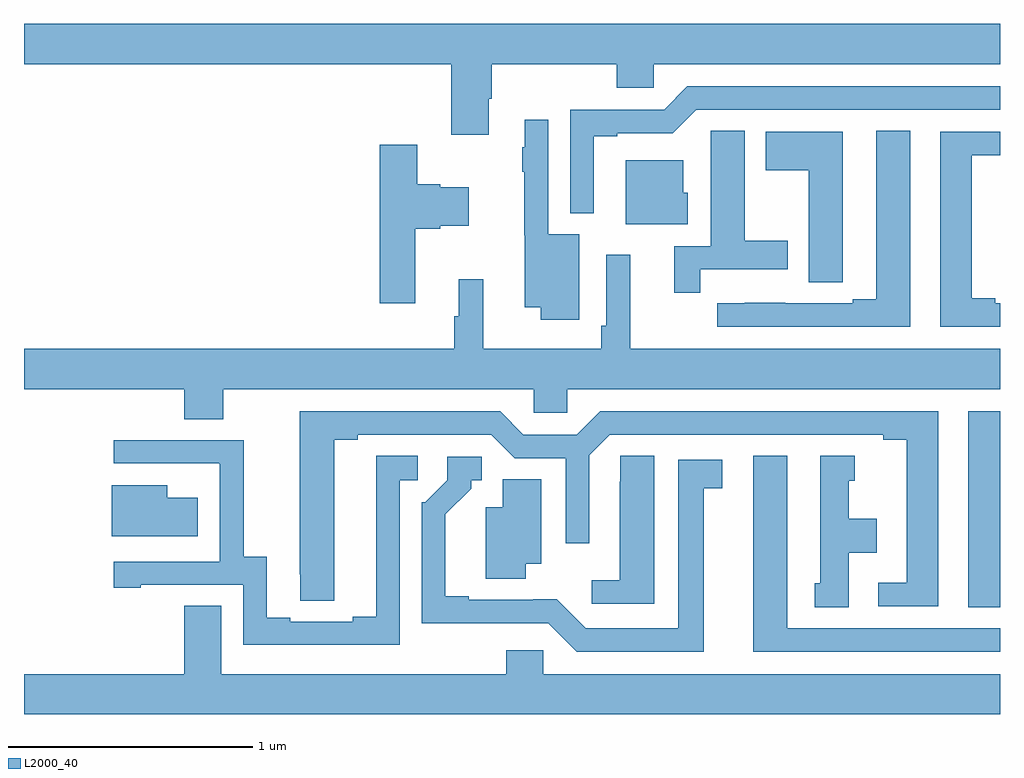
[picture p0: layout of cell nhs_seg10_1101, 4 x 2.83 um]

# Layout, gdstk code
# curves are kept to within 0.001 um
import gdstk
lib = gdstk.Library(unit=1e-6, precision=1e-09)
def R(c, l, rs):  # rectangles x0, y0, x1, y1
    for r in rs: c.add(gdstk.rectangle(r[:2], r[2:], *l))
def P(c, l, *ps):  # polygons
    for p in ps: c.add(gdstk.Polygon(p, *l))
L2000_40 = (2000, 40)

nhs_seg10_1101 = lib.new_cell('nhs_seg10_1101')
R(nhs_seg10_1101, L2000_40, [(170.87,1303.417,171,1304.22)])
P(nhs_seg10_1101, L2000_40, [(168.904,1305.502),(168.917,1305.502),(168.917,1305.644),(169.43,1305.644),(169.43,1305.546),(169.581,1305.546),(169.581,1305.644),(171,1305.644),(171,1305.808),(167,1305.808),(167,1305.644),(168.752,1305.644),(168.752,1305.354),(168.904,1305.354)],
  [(169.336,1305.348),(169.432,1305.348),(169.432,1305.36),(169.659,1305.36),(169.755,1305.456),(171,1305.456),(171,1305.552),(169.719,1305.552),(169.623,1305.456),(169.239,1305.456),(169.239,1305.032),(169.336,1305.032)],
  [(169.276,1304.947),(169.149,1304.947),(169.149,1305.415),(169.052,1305.415),(169.052,1305.302),(169.041,1305.302),(169.041,1305.202),(169.051,1305.202),(169.051,1304.943),(169.052,1304.943),(169.052,1304.648),(169.118,1304.648),(169.118,1304.595),(169.276,1304.595)],
  [(170.632,1305.371),(170.492,1305.371),(170.492,1304.679),(170.396,1304.679),(170.396,1304.664),(170.12,1304.664),(170.12,1304.665),(169.954,1304.665),(169.954,1304.664),(169.842,1304.664),(169.842,1304.568),(170.632,1304.568)],
  [(169.772,1304.802),(170.131,1304.802),(170.131,1304.919),(169.954,1304.919),(169.954,1305.371),(169.815,1305.371),(169.815,1305.26),(169.814,1305.26),(169.814,1304.898),(169.664,1304.898),(169.664,1304.706),(169.772,1304.706)],
  [(170.355,1304.857),(170.356,1304.857),(170.356,1305.367),(170.039,1305.367),(170.039,1305.208),(170.216,1305.208),(170.216,1304.749),(170.355,1304.749)],
  [(171,1304.664),(170.98,1304.664),(170.98,1304.684),(170.884,1304.684),(170.884,1305.27),(171,1305.27),(171,1305.366),(170.756,1305.366),(170.756,1304.568),(171,1304.568)],
  [(168.604,1304.969),(168.705,1304.969),(168.705,1304.981),(168.823,1304.981),(168.823,1305.139),(168.705,1305.139),(168.705,1305.152),(168.612,1305.152),(168.612,1305.313),(168.458,1305.313),(168.458,1304.664),(168.604,1304.664)],
  [(169.72,1305.117),(169.702,1305.117),(169.702,1305.25),(169.466,1305.25),(169.466,1304.987),(169.72,1304.987)],
  [(167.817,1304.312),(169.089,1304.312),(169.089,1304.214),(169.227,1304.214),(169.227,1304.312),(171,1304.312),(171,1304.476),(169.484,1304.476),(169.484,1304.863),(169.386,1304.863),(169.386,1304.572),(169.366,1304.572),(169.366,1304.476),(168.882,1304.476),(168.882,1304.761),(168.782,1304.761),(168.782,1304.61),(168.763,1304.61),(168.763,1304.476),(167,1304.476),(167,1304.312),(167.657,1304.312),(167.657,1304.188),(167.817,1304.188)],
  [(170.746,1304.22),(169.361,1304.22),(169.265,1304.124),(169.047,1304.124),(168.951,1304.22),(168.131,1304.22),(168.132,1303.444),(168.271,1303.444),(168.271,1304.104),(168.367,1304.104),(168.367,1304.124),(168.915,1304.124),(169.011,1304.028),(169.221,1304.028),(169.221,1303.68),(169.317,1303.68),(169.317,1304.04),(169.401,1304.124),(170.522,1304.124),(170.522,1304.104),(170.618,1304.104),(170.618,1303.518),(170.502,1303.518),(170.502,1303.422),(170.746,1303.422)],
  [(168.54,1303.938),(168.613,1303.938),(168.613,1304.039),(168.443,1304.039),(168.443,1303.379),(168.347,1303.379),(168.347,1303.359),(168.091,1303.359),(168.091,1303.374),(167.995,1303.374),(167.995,1303.625),(167.901,1303.625),(167.901,1304.103),(167.367,1304.103),(167.367,1304.007),(167.801,1304.007),(167.801,1304.006),(167.802,1304.006),(167.802,1303.605),(167.367,1303.605),(167.367,1303.497),(167.479,1303.497),(167.479,1303.509),(167.898,1303.509),(167.898,1303.263),(168.54,1303.263)],
  [(169.582,1304.039),(169.443,1304.039),(169.443,1303.931),(169.442,1303.931),(169.442,1303.528),(169.326,1303.528),(169.326,1303.431),(169.582,1303.431)],
  [(170.38,1303.64),(170.494,1303.64),(170.494,1303.78),(170.38,1303.78),(170.38,1303.935),(170.404,1303.935),(170.404,1304.038),(170.264,1304.038),(170.264,1303.515),(170.24,1303.515),(170.24,1303.417),(170.38,1303.417)],
  [(171,1303.332),(170.128,1303.332),(170.128,1304.038),(169.988,1304.038),(169.988,1303.236),(171,1303.236)],
  [(169.786,1303.906),(169.861,1303.906),(169.861,1304.022),(169.682,1304.022),(169.682,1303.332),(169.302,1303.332),(169.184,1303.45),(168.823,1303.449),(168.823,1303.462),(168.727,1303.462),(168.727,1303.798),(168.832,1303.903),(168.832,1303.938),(168.877,1303.938),(168.877,1304.034),(168.735,1304.034),(168.735,1303.938),(168.645,1303.848),(168.63,1303.848),(168.63,1303.352),(169.149,1303.353),(169.266,1303.236),(169.786,1303.236)],
  [(169.057,1303.595),(169.12,1303.595),(169.12,1303.943),(168.962,1303.943),(168.962,1303.828),(168.893,1303.828),(168.893,1303.534),(169.057,1303.534)],
  [(167.713,1303.867),(167.587,1303.867),(167.587,1303.918),(167.36,1303.918),(167.36,1303.709),(167.713,1303.709)],
  [(171,1303.144),(169.128,1303.144),(169.128,1303.242),(168.977,1303.242),(168.977,1303.144),(167.809,1303.144),(167.809,1303.424),(167.657,1303.424),(167.657,1303.144),(167,1303.144),(167,1302.98),(171,1302.98)])

lib.write_gds('nhs_seg10_1101.gds')
